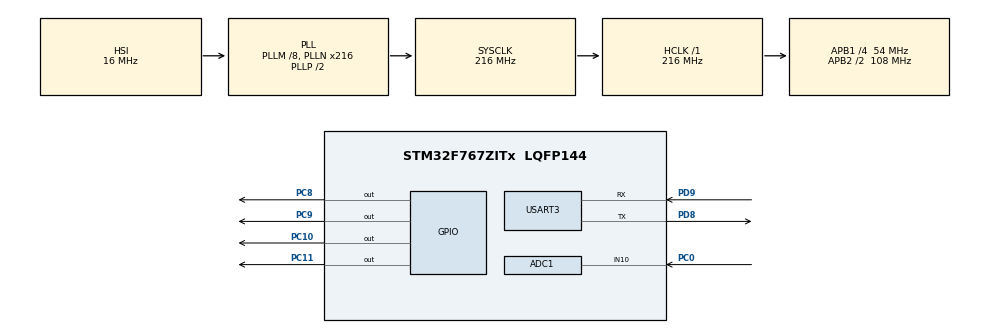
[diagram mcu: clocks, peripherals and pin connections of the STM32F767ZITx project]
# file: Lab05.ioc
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ADC1.Channel-0\#ChannelRegularConversion=ADC_CHANNEL_10
ADC1.ContinuousConvMode=ENABLE
ADC1.EOCSelection=ADC_EOC_SEQ_CONV
ADC1.NbrOfConversionFlag=1
ADC1.Rank-0\#ChannelRegularConversion=1
ADC1.SamplingTime-0\#ChannelRegularConversion=ADC_SAMPLETIME_3CYCLES
ADC1.master=1
CORTEX_M7.default_mode_Activation=1
Mcu.Family=STM32F7
Mcu.Name=STM32F767ZITx
Mcu.Package=LQFP144
NVIC.PriorityGroup=NVIC_PRIORITYGROUP_4
PC0.Signal=ADCx_IN10
PC10.Signal=GPIO_Output
PC11.Signal=GPIO_Output
PC8.Signal=GPIO_Output
PC9.Signal=GPIO_Output
PD8.Mode=Asynchronous
PD8.Signal=USART3_TX
PD9.Mode=Asynchronous
PD9.Signal=USART3_RX
ProjectManager.HeapSize=0x200
ProjectManager.StackSize=0x400
ProjectManager.TargetToolchain=STM32CubeIDE
RCC.AHBFreq_Value=216000000
RCC.APB1CLKDivider=RCC_HCLK_DIV4
RCC.APB1Freq_Value=54000000
RCC.APB1TimFreq_Value=108000000
RCC.APB2CLKDivider=RCC_HCLK_DIV2
RCC.APB2Freq_Value=108000000
RCC.APB2TimFreq_Value=216000000
RCC.CortexFreq_Value=216000000
RCC.HCLKFreq_Value=216000000
RCC.HSE_VALUE=25000000
RCC.HSI_VALUE=16000000
RCC.LSE_VALUE=32768
RCC.PLLM=8
RCC.PLLN=216
RCC.SYSCLKFreq_VALUE=216000000
RCC.SYSCLKSource=RCC_SYSCLKSOURCE_PLLCLK
RCC.USBFreq_Value=216000000
RCC.VCOOutputFreq_Value=432000000
SH.ADCx_IN10.0=ADC1_IN10,IN10
USART3.VirtualMode-Asynchronous=VM_ASYNC
board=custom

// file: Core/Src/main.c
/* USER CODE BEGIN Header */
/**
  ******************************************************************************
  * @file           : main.c
  * @brief          : Main program body
  ******************************************************************************
  * @attention
  *
  * Copyright (c) 2024 STMicroelectronics.
  * All rights reserved.
  *
  * This software is licensed under terms that can be found in the LICENSE file
  * in the root directory of this software component.
  * If no LICENSE file comes with this software, it is provided AS-IS.
  *
  ******************************************************************************
  */
/* USER CODE END Header */
#include "main.h"
#include "adc.h"
#include "usart.h"
#include "gpio.h"

/* USER CODE BEGIN Includes */
#include "string.h"
#include "stdio.h"
/* USER CODE END Includes */

void SystemClock_Config(void);
static void MPU_Config(void);

/* USER CODE BEGIN 0 */
volatile uint32_t adc_val = 0;
int adc_avg_8;
int adc_avg_16;
float vin;

void displayHex(uint32_t num) {
	char hexString[1000];
	vin = num * 3.3 / 4095.0;

	sprintf(hexString, "ADC1_CH10 0x%08X Vin = %0.3f V\n", num, vin);

	while(__HAL_UART_GET_FLAG(&huart3, UART_FLAG_TC) == RESET) {}
	HAL_UART_Transmit(&huart3, (uint8_t *) hexString, strlen(hexString), 100);

	HAL_Delay(400);
}

int average_8(int x){
	static int samples[8];
	static int i = 0;
	static int total = 0;

	total += x - samples[i];
	samples[i] = x;

	i = (i == 7 ? 0 : i+1);

	return total >> 3;
}

int average_16(int x){
	static int samples[16];
	static int i = 0;
	static int total = 0;

	total += x - samples[i];
	samples[i] = x;

	i = (i == 15 ? 0 : i+1);

	return total >> 4;
}

void displayLed(uint32_t num) {
	float vin = num * 3.3 / 4095.0;
	uint16_t pins[] = { GPIO_PIN_8, GPIO_PIN_9, GPIO_PIN_10, GPIO_PIN_11 };
	float thresholds[] = { 0.66, 1.32, 1.98, 2.64 };

	for (int i = 0; i < 4; i++) {
		if (vin > thresholds[i] && vin <= thresholds[i] + 0.66) {
			HAL_GPIO_WritePin(GPIOC, pins[i], GPIO_PIN_SET);
		} else if (vin <= thresholds[i]) {
			HAL_GPIO_WritePin(GPIOC, pins[i], GPIO_PIN_RESET);
		}
//		HAL_Delay(500);
	}
}

/* USER CODE END 0 */

int main(void)
{

  /* MPU Configuration--------------------------------------------------------*/
  MPU_Config();

  /* MCU Configuration--------------------------------------------------------*/

  /* Reset of all peripherals, Initializes the Flash interface and the Systick. */
  HAL_Init();

  /* Configure the system clock */
  SystemClock_Config();

  /* Initialize all configured peripherals */
  MX_GPIO_Init();
  MX_ADC1_Init();
  MX_USART3_UART_Init();
  /* USER CODE BEGIN 2 */
  HAL_ADC_Start(&hadc1);
  /* USER CODE END 2 */

  /* Infinite loop */
  while (1)
  {

    /* USER CODE BEGIN 3 */
	while (HAL_ADC_PollForConversion(&hadc1, 100) != HAL_OK) {}
	adc_val = HAL_ADC_GetValue(&hadc1);

	adc_avg_16 = average_16(adc_val);
	adc_avg_8 = average_8(adc_val);
	displayHex(adc_val);
	displayLed(adc_val);
  }
  /* USER CODE END 3 */
}

void SystemClock_Config(void)
{
  RCC_OscInitTypeDef RCC_OscInitStruct = {0};
  RCC_ClkInitTypeDef RCC_ClkInitStruct = {0};

  /** Configure the main internal regulator output voltage
  */
  __HAL_RCC_PWR_CLK_ENABLE();
  __HAL_PWR_VOLTAGESCALING_CONFIG(PWR_REGULATOR_VOLTAGE_SCALE1);

  /** Initializes the RCC Oscillators according to the specified parameters
  * in the RCC_OscInitTypeDef structure.
  */
  RCC_OscInitStruct.OscillatorType = RCC_OSCILLATORTYPE_HSI;
  RCC_OscInitStruct.HSIState = RCC_HSI_ON;
  RCC_OscInitStruct.HSICalibrationValue = RCC_HSICALIBRATION_DEFAULT;
  RCC_OscInitStruct.PLL.PLLState = RCC_PLL_ON;
  RCC_OscInitStruct.PLL.PLLSource = RCC_PLLSOURCE_HSI;
  RCC_OscInitStruct.PLL.PLLM = 8;
  RCC_OscInitStruct.PLL.PLLN = 216;
  RCC_OscInitStruct.PLL.PLLP = RCC_PLLP_DIV2;
  RCC_OscInitStruct.PLL.PLLQ = 2;
  RCC_OscInitStruct.PLL.PLLR = 2;
  if (HAL_RCC_OscConfig(&RCC_OscInitStruct) != HAL_OK)
  {
    Error_Handler();
  }

  /** Activate the Over-Drive mode
  */
  if (HAL_PWREx_EnableOverDrive() != HAL_OK)
  {
    Error_Handler();
  }

  /** Initializes the CPU, AHB and APB buses clocks
  */
  RCC_ClkInitStruct.ClockType = RCC_CLOCKTYPE_HCLK|RCC_CLOCKTYPE_SYSCLK
                              |RCC_CLOCKTYPE_PCLK1|RCC_CLOCKTYPE_PCLK2;
  RCC_ClkInitStruct.SYSCLKSource = RCC_SYSCLKSOURCE_PLLCLK;
  RCC_ClkInitStruct.AHBCLKDivider = RCC_SYSCLK_DIV1;
  RCC_ClkInitStruct.APB1CLKDivider = RCC_HCLK_DIV4;
  RCC_ClkInitStruct.APB2CLKDivider = RCC_HCLK_DIV2;

  if (HAL_RCC_ClockConfig(&RCC_ClkInitStruct, FLASH_LATENCY_7) != HAL_OK)
  {
    Error_Handler();
  }
}

 /* MPU Configuration */

void MPU_Config(void)
{
  MPU_Region_InitTypeDef MPU_InitStruct = {0};

  /* Disables the MPU */
  HAL_MPU_Disable();

  /** Initializes and configures the Region and the memory to be protected
  */
  MPU_InitStruct.Enable = MPU_REGION_ENABLE;
  MPU_InitStruct.Number = MPU_REGION_NUMBER0;
  MPU_InitStruct.BaseAddress = 0x0;
  MPU_InitStruct.Size = MPU_REGION_SIZE_4GB;
  MPU_InitStruct.SubRegionDisable = 0x87;
  MPU_InitStruct.TypeExtField = MPU_TEX_LEVEL0;
  MPU_InitStruct.AccessPermission = MPU_REGION_NO_ACCESS;
  MPU_InitStruct.DisableExec = MPU_INSTRUCTION_ACCESS_DISABLE;
  MPU_InitStruct.IsShareable = MPU_ACCESS_SHAREABLE;
  MPU_InitStruct.IsCacheable = MPU_ACCESS_NOT_CACHEABLE;
  MPU_InitStruct.IsBufferable = MPU_ACCESS_NOT_BUFFERABLE;

  HAL_MPU_ConfigRegion(&MPU_InitStruct);
  /* Enables the MPU */
  HAL_MPU_Enable(MPU_PRIVILEGED_DEFAULT);

}

void Error_Handler(void)
{
  __disable_irq();
  while (1)
  {
  }
}
